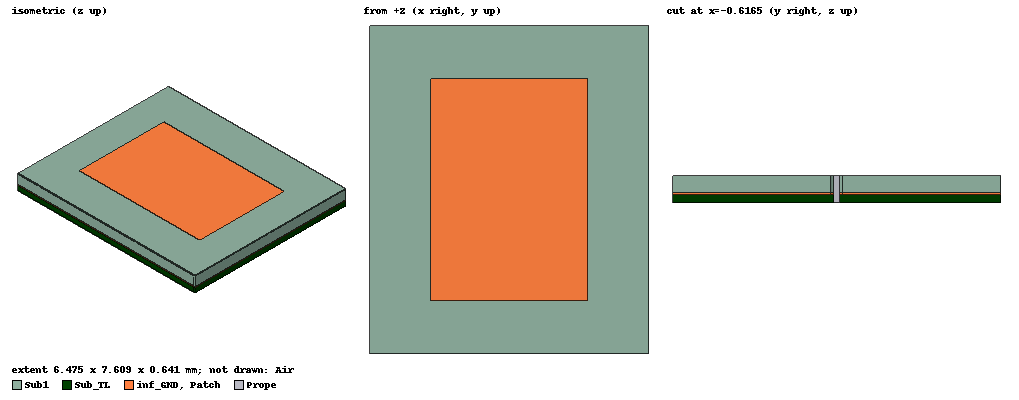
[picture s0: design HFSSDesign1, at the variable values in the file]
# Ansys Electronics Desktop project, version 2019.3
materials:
  vacuum: permittivity=1
  Rogers RT/duroid 5880 (tm): permittivity=2.2 dielectric_loss_tangent=0.0009
  pec: conductivity=1e+30
  Rogers RO4003 (tm): permittivity=3.55 dielectric_loss_tangent=0.0027

design HFSSDesign1 (HFSS, DrivenModal, model units mm)
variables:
  Lp = 3.633mm  # optimise 1.961496581mm..5.884489743mm
  Wp = 5.173mm  # optimise 2.538622579mm..7.615867737mm
  hs = 0.406mm
  Ws = Wp+6*hs
  Ls = 7*hs+Lp
  xsub = -Ls/2
  ysub = -Ws/2
  xfeed = 1.2mm  # optimise 0.4620027115mm..1.3860081345mm
  dp = 0.343834434mm  # optimise 0.19101913mm..0.57305739mm
  rcoax = 0.14mm
  hcoax = 0.203mm
  rprope = 0.07mm
  Lair = 0.01+Ls
  Wair = 0.01+Ws
  xair = Lair/2
  yair = Wair/2
  hair = 5mm
  yfeed = 0mm
  xp = -Lp/2
  yp = -Wp/2
  hgnd = -0.032mm
  X_TL_1 = 2.288307mm
  Y_TL_1 = 0.276146mm
  Y_TL_vertical = 3.105225mm
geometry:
  Sub1 [Rogers RO4003 (tm)] = box(corner=(xsub, ysub, 0mm), size=(Ls, Ws, hs))
  Patch [Rogers RT/duroid 5880 (tm)] = rectangle(corner=(xp, yp, hs), x_size=Lp, y_size=Wp)
  Prope [pec] = cylinder(axis=Z, base_centre=(xfeed+xp, yfeed, -hcoax+hgnd), radius=rprope, height=hs+hcoax-hgnd)
  Air [vacuum] = box(corner=(-xair, -yair, -hair/2), size=(Lair, Wair, hair))
  inf_GND [pec] = box(corner=(xsub, ysub, 0mm), size=(Ls, Ws, hgnd))
  Cylinder_cut_1 = cylinder(axis=Z, base_centre=(xp+xfeed, yfeed, 0), radius=rcoax, height=hgnd)
  inf_GND.subtract(Cylinder_cut_1)
  Sub_TL [Rogers RO4003 (tm)] = box(corner=(xsub, ysub, hgnd), size=(Ls, Ws, -hcoax))
  Input_port_wave1 = circle(normal=Z, centre=(xfeed+xp, yfeed, -hcoax+hgnd), radius=rcoax)
  Cylinder_subTL_cut1 = cylinder(axis=Z, base_centre=(xfeed+xp, yfeed, -hcoax+hgnd), radius=rprope, height=hcoax)
  Sub_TL.subtract(Cylinder_subTL_cut1)
  Cylinder_Sub_cut1 = cylinder(axis=Z, base_centre=(xp+xfeed, yfeed, 0mm), radius=rcoax, height=hs)
  Sub1.subtract(Cylinder_Sub_cut1)
  Cylinder_GND_probe1 [pec] = cylinder(axis=Z, base_centre=(xfeed+xp, yfeed, hgnd), radius=rcoax, height=-hcoax)
  Cylinder_GND_vaccuum = cylinder(axis=Z, base_centre=(xfeed+xp, yfeed, hgnd), radius=0.99*rcoax, height=-hcoax)
  Cylinder_coax = cylinder(axis=Z, base_centre=(xfeed+xp, yfeed, hgnd), radius=0.99*rcoax, height=-hcoax)
  Cylinder_GND_probe1.subtract(Cylinder_GND_vaccuum)
  Sub_TL.unite(Cylinder_coax)
  group PCB1 = Sub1, inf_GND, Sub_TL
  group Input_feed1 = Prope, Input_port_wave1
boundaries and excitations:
  PerfE_Patch: Perfect E Objects=Patch
  Rad1: Radiation Faces=Air.face(+x, +y, -y, -x, +z)
  1: Lumped Port Objects=Input_port_wave1 Modes{Mode1{IntLine{Input_port_wave1.edge(1 of 1) at -0.25 along -> Input_port_wave1.edge(1 of 1) at 0.25 along} CharImp=Zpi RenormImp=50ohm}} Impedance=50ohm
  reference conductors: inf_GND
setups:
  Setup1: HfssDriven Frequency=20GHz MaxDeltaS=0.02 MaximumPasses=18 MinimumPasses=1 MinimumConvergedPasses=1 PercentRefinement=30 BasisOrder=1 PortAccuracy=2
    sweep Sweep: 10GHz to 30GHz step 0.1GHz; Type=Fast SaveFields SaveRadFields GenerateFieldsForAllFreqs
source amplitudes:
  1:1: 1W 0deg
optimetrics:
  OptimizationSetup1: Optimization Optimizer="Quasi Newton" AnalysisStopOptions{StopForNumIteration MaxNumIteration=1000 MinNumIteration=10} CostFuncNormType=L2 Acceptable_Cost=0 Noise=0.0001 UpdateDesignWhenDone
    vary Lp: Min=1.961496581mm Max=5.884489743mm MinStep=0.039229932mm MaxStep=0.39229932mm MinFocus=1.961496581mm MaxFocus=5.884489743mm start=4mm
    vary xfeed: Min=0.46200271mm Max=1.3860081mm MinStep=0.0092400542mm MaxStep=0.092400542mm MinFocus=0.46200271mm MaxFocus=1.3860081mm start=0.915806943mm
    goal dB(S(1,1)) <= -15 weight 5 on Setup1 : Sweep at Freq 20GHz
    goal mag(Z(1,1)) >= 20 weight 1 on Setup1 : Sweep at Freq 20GHz
    goal mag(Z(1,1)) >= 50 weight 1 on Setup1 : Sweep at Freq 20GHz
  ParametricSetup1: Parametric Sim._Setups=[Setup1]
    sweep Lp: LIN 1mm 5mm 1mm
    sweep Wp: LIN 1mm 10mm 1mm
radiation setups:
  e_plane: Infinite Sphere Theta=-180deg..180deg step 2deg Phi=0deg..0deg step 1deg
  h_plane: Infinite Sphere Theta=-180deg..180deg step 2deg Phi=90deg..90deg step 1deg
  3d: Infinite Sphere Theta=-180deg..180deg step 2deg Phi=0deg..360deg step 2deg
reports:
  Eradation_pattern: abs(rETotal) vs Theta on Setup1 : LastAdaptive, e_plane [Phi=all Freq=20GHz]
  Hradation_pattern: abs(rETotal) vs Theta on Setup1 : LastAdaptive, h_plane [Phi=all Freq=20GHz]
  Co_X_graph: dB10normalize(GainPhi), dB10normalize(GainTheta) vs Theta on Setup1 : LastAdaptive, e_plane [Phi=0deg Freq=20GHz]
  Gain_2D: GainTotal vs Theta on Setup1 : LastAdaptive, e_plane [Phi=all Freq=20GHz dp=all]
  VSWR: VSWR(1) vs Freq on Setup1 : Sweep; markers m1 at 20GHz
  Gain_3D: mag(GainTotal) vs Phi, Theta on Setup1 : LastAdaptive, 3d [Freq=20GHz]
  S Parameter Plot 1: dB(S(1,1)) vs Freq on Setup1 : Sweep [Lp=all Wp=all hs=all]; markers MX1 at x=2.0004876e+10
  S11: dB(S(1,1)) vs Freq on Setup1 : Sweep; markers MX1 at x=2e+10
  S11_LW_SWEAP: dB(S(1,1)) vs Freq on Setup1 : Sweep [Lp=all Wp=all]; markers MX1 at x=1.9402839e+10
  ZIn: mag(Z(1,1)) vs Freq on Setup1 : Sweep; markers MX1 at x=2.000993e+10
